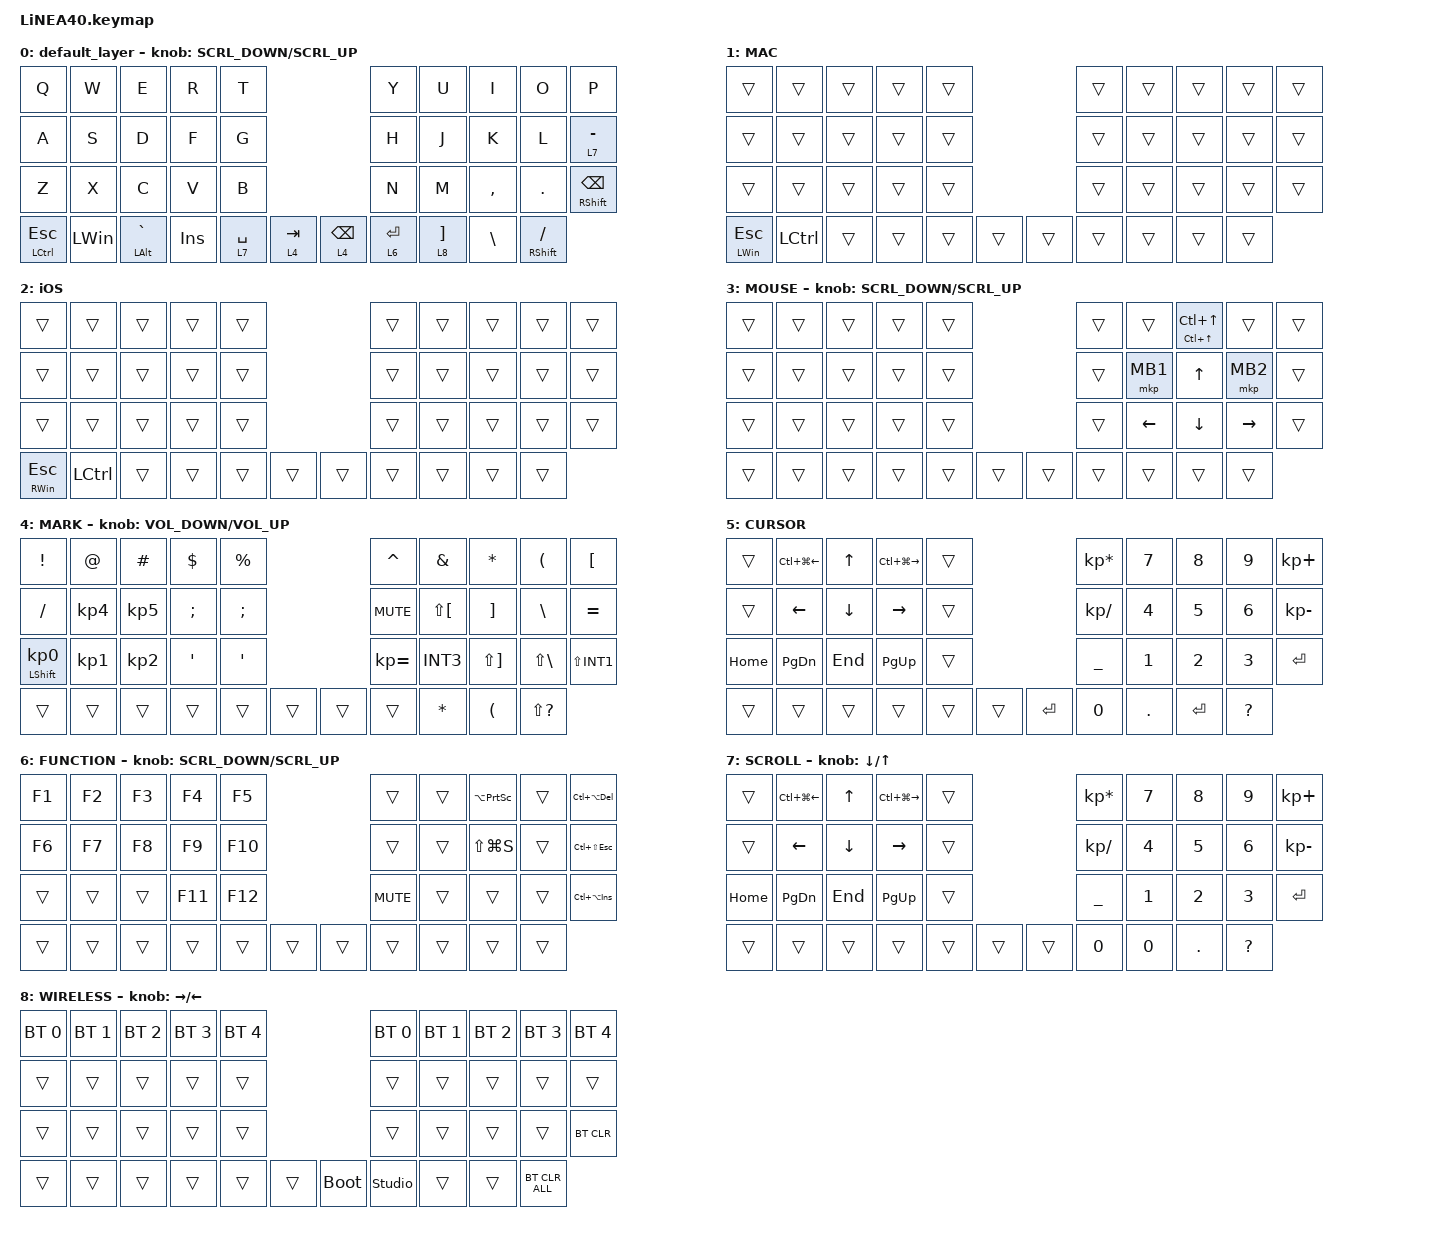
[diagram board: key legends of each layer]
#define ZMK_POINTING_DEFAULT_SCRL_VAL 150

#include <dt-bindings/zmk/input_transform.h>
#include <input/processors.dtsi>
#include <zephyr/dt-bindings/input/input-event-codes.h>
#include <behaviors.dtsi>
#include <dt-bindings/zmk/bt.h>
#include <dt-bindings/zmk/keys.h>
#include <dt-bindings/zmk/pointing.h>

#define MOUSE 1
#define MARK 2
#define CURSOR 3
#define FUNCTION 4
#define SCROLL 5
#define WIRELESS 6

//mouse cursol

&mmv {
    delay-ms = <20>;
    trigger-period-ms = <5>;
    time-to-max-speed-ms = <100>;
    acceleration-exponent = <2>;
};

//mouse scroll

&msc {
    delay-ms = <3>;
    trigger-period-ms = <3>;
    time-to-max-speed-ms = <100>;
    acceleration-exponent = <0>;
};

/ {
    input_processors {
        zip_wheel_scaler: zip_wheel_scaler {
            compatible = "zmk,input-processor-scaler";
            #input-processor-cells = <2>;
            type = <INPUT_EV_REL>;
            codes = <INPUT_REL_WHEEL>;
            track-remainders;
        };
    };
};

&msc_input_listener {
    speed_up {
        layers = <FUNCTION>;
        input-processors = <&zip_wheel_scaler 3 1>; //スクロールを3倍速にする
    };
};

&trackball_listener {
    scroller {
        layers = <SCROLL>;
        input-processors =
            <&zip_xy_transform INPUT_TRANSFORM_Y_INVERT>,
            //スクロール方向を逆転,,,,,,,,,,,,,,,,
            <&zip_xy_to_scroll_mapper>;
    };
};

/ {
    combos {
        compatible = "zmk,combos";

        ZenkakuHankaku {
            bindings = <&kp GRAVE>;
            key-positions = <11 12>;
        };

        DeleteKey {
            bindings = <&kp DEL>;
            key-positions = <7 8>;
        };

        InsertKey {
            bindings = <&kp INS>;
            key-positions = <6 7>;
        };

        CenterClick {
            bindings = <&mkp MB3>;
            key-positions = <17 16>;
        };

        RightClick {
            bindings = <&mkp MB2>;
            key-positions = <18 17>;
        };

        PrevClick {
            bindings = <&mkp MB4>;
            key-positions = <27 28>;
        };

        ClickNext {
            bindings = <&mkp MB5>;
            key-positions = <26 27>;
        };
    };

    behaviors {
        re_kp: sensor_rotate_kp {
            compatible = "zmk,behavior-sensor-rotate-var";
            #sensor-binding-cells = <2>;
            bindings = <&kp>, <&kp>;
        };

        mouse_scrl: mouse_wheel_scrl {
            compatible = "zmk,behavior-sensor-rotate-var";
            #sensor-binding-cells = <2>;
            bindings = <&msc>, <&msc>;

            tap-ms = <20>;
        };
    };

    keymap {
        compatible = "zmk,keymap";

        default_layer {
            bindings = <
&kp Q                 &kp W         &kp E               &kp R    &kp T                                      &kp Y        &kp U  &kp I                &kp O          &kp P
&kp A                 &kp S         &kp D               &kp F    &kp G                                      &kp H        &kp J  &kp K                &kp L          &lt 7 MINUS
&kp Z                 &kp X         &kp C               &kp V    &kp B                                      &kp N        &kp M  &kp COMMA            &kp DOT        &mt RIGHT_SHIFT BACKSPACE
&mt LEFT_CONTROL ESC  &kp LEFT_WIN  &mt LEFT_ALT GRAVE  &kp INS  &lt 7 SPACE  &lt 4 TAB    &lt 4 BACKSPACE  &lt 6 ENTER         &lt 8 RIGHT_BRACKET  &kp BACKSLASH  &mt RIGHT_SHIFT SLASH
            >;

            sensor-bindings = <&mouse_scrl SCRL_DOWN SCRL_UP>;
        };

        MAC {
            bindings = <
&trans               &trans            &trans  &trans  &trans                    &trans  &trans  &trans  &trans  &trans
&trans               &trans            &trans  &trans  &trans                    &trans  &trans  &trans  &trans  &trans
&trans               &trans            &trans  &trans  &trans                    &trans  &trans  &trans  &trans  &trans
&mt LEFT_WIN ESCAPE  &kp LEFT_CONTROL  &trans  &trans  &trans  &trans    &trans  &trans          &trans  &trans  &trans
            >;
        };

        iOS {
            bindings = <
&trans                &trans            &trans  &trans  &trans                    &trans  &trans  &trans  &trans  &trans
&trans                &trans            &trans  &trans  &trans                    &trans  &trans  &trans  &trans  &trans
&trans                &trans            &trans  &trans  &trans                    &trans  &trans  &trans  &trans  &trans
&mt RIGHT_WIN ESCAPE  &kp LEFT_CONTROL  &trans  &trans  &trans  &trans    &trans  &trans          &trans  &trans  &trans
            >;
        };

        MOUSE {
            bindings = <
&trans  &trans  &trans  &trans  &trans                    &trans  &trans    &mt LC(UP_ARROW) LC(UP_ARROW)  &trans     &trans
&trans  &trans  &trans  &trans  &trans                    &trans  &mkp MB1  &kp UP                         &mkp MB2   &trans
&trans  &trans  &trans  &trans  &trans                    &trans  &kp LEFT  &kp DOWN                       &kp RIGHT  &trans
&trans  &trans  &trans  &trans  &trans  &trans    &trans  &trans            &trans                         &trans     &trans
            >;

            sensor-bindings = <&mouse_scrl SCRL_DOWN SCRL_UP>;
        };

        MARK {
            bindings = <
&kp EXCLAMATION             &kp AT           &kp HASH         &kp DOLLAR     &kp PERCENT                      &kp CARET     &kp AMPERSAND  &kp ASTERISK           &kp LEFT_PARENTHESIS  &kp LBKT
&kp SLASH                   &kp KP_NUMBER_4  &kp KP_NUMBER_5  &kp SEMICOLON  &kp SEMICOLON                    &kp C_MUTE    &kp LS(LBKT)   &kp RIGHT_BRACKET      &kp BACKSLASH         &kp EQUAL
&mt LEFT_SHIFT KP_NUMBER_0  &kp KP_NUMBER_1  &kp KP_NUMBER_2  &kp APOS       &kp SQT                          &kp KP_EQUAL  &kp INT3       &kp LS(RIGHT_BRACKET)  &kp LS(BACKSLASH)     &kp LS(INT1)
&trans                      &trans           &trans           &trans         &trans         &trans    &trans  &trans                       &kp ASTERISK           &kp LEFT_PARENTHESIS  &kp LS(QUESTION)
            >;

            sensor-bindings = <&re_kp C_VOLUME_DOWN C_VOLUME_UP>;
        };

        CURSOR {
            bindings = <
&trans    &kp LC(LG(LEFT_ARROW))  &kp UP_ARROW  &kp LC(LG(RIGHT_ARROW))  &trans                       &kp KP_MULTIPLY  &kp NUMBER_7  &kp NUMBER_8  &kp NUMBER_9  &kp KP_PLUS
&trans    &kp LEFT_ARROW          &kp DOWN      &kp RIGHT_ARROW          &trans                       &kp KP_SLASH     &kp NUMBER_4  &kp NUMBER_5  &kp NUMBER_6  &kp KP_MINUS
&kp HOME  &kp PAGE_DOWN           &kp END       &kp PAGE_UP              &trans                       &kp UNDER        &kp NUMBER_1  &kp NUMBER_2  &kp NUMBER_3  &kp ENTER
&trans    &trans                  &trans        &trans                   &trans  &trans    &kp ENTER  &kp NUMBER_0                   &kp DOT       &kp ENTER     &kp QUESTION
            >;
        };

        FUNCTION {
            bindings = <
&kp F1  &kp F2  &kp F3  &kp F4   &kp F5                     &trans      &trans  &kp LA(PRINTSCREEN)  &trans  &kp LC(LA(DELETE))
&kp F6  &kp F7  &kp F8  &kp F9   &kp F10                    &trans      &trans  &kp LS(LG(S))        &trans  &kp LC(LS(ESCAPE))
&trans  &trans  &trans  &kp F11  &kp F12                    &kp C_MUTE  &trans  &trans               &trans  &kp LC(LA(INS))
&trans  &trans  &trans  &trans   &trans   &trans    &trans  &trans              &trans               &trans  &trans
            >;

            sensor-bindings = <&mouse_scrl SCRL_DOWN SCRL_UP>;
        };

        SCROLL {
            bindings = <
&trans    &kp LC(LG(LEFT_ARROW))  &kp UP_ARROW  &kp LC(LG(RIGHT_ARROW))  &trans                    &kp KP_MULTIPLY  &kp NUMBER_7  &kp NUMBER_8  &kp NUMBER_9  &kp KP_PLUS
&trans    &kp LEFT_ARROW          &kp DOWN      &kp RIGHT_ARROW          &trans                    &kp KP_SLASH     &kp NUMBER_4  &kp NUMBER_5  &kp NUMBER_6  &kp KP_MINUS
&kp HOME  &kp PAGE_DOWN           &kp END       &kp PAGE_UP              &trans                    &kp UNDER        &kp NUMBER_1  &kp NUMBER_2  &kp NUMBER_3  &kp ENTER
&trans    &trans                  &trans        &trans                   &trans  &trans    &trans  &kp NUMBER_0                   &kp NUMBER_0  &kp DOT       &kp QUESTION
            >;

            sensor-bindings = <&inc_dec_kp DOWN_ARROW UP_ARROW>;
        };

        WIRELESS {
            bindings = <
&bt BT_SEL 0  &bt BT_SEL 1  &bt BT_SEL 2  &bt BT_SEL 3  &bt BT_SEL 4                         &bt BT_SEL 0    &bt BT_SEL 1  &bt BT_SEL 2  &bt BT_SEL 3  &bt BT_SEL 4
&trans        &trans        &trans        &trans        &trans                               &trans          &trans        &trans        &trans        &trans
&trans        &trans        &trans        &trans        &trans                               &trans          &trans        &trans        &trans        &bt BT_CLR
&trans        &trans        &trans        &trans        &trans        &trans    &bootloader  &studio_unlock                &trans        &trans        &bt BT_CLR_ALL
            >;

            sensor-bindings = <&inc_dec_kp RIGHT_ARROW LEFT_ARROW>;
        };
    };
};
